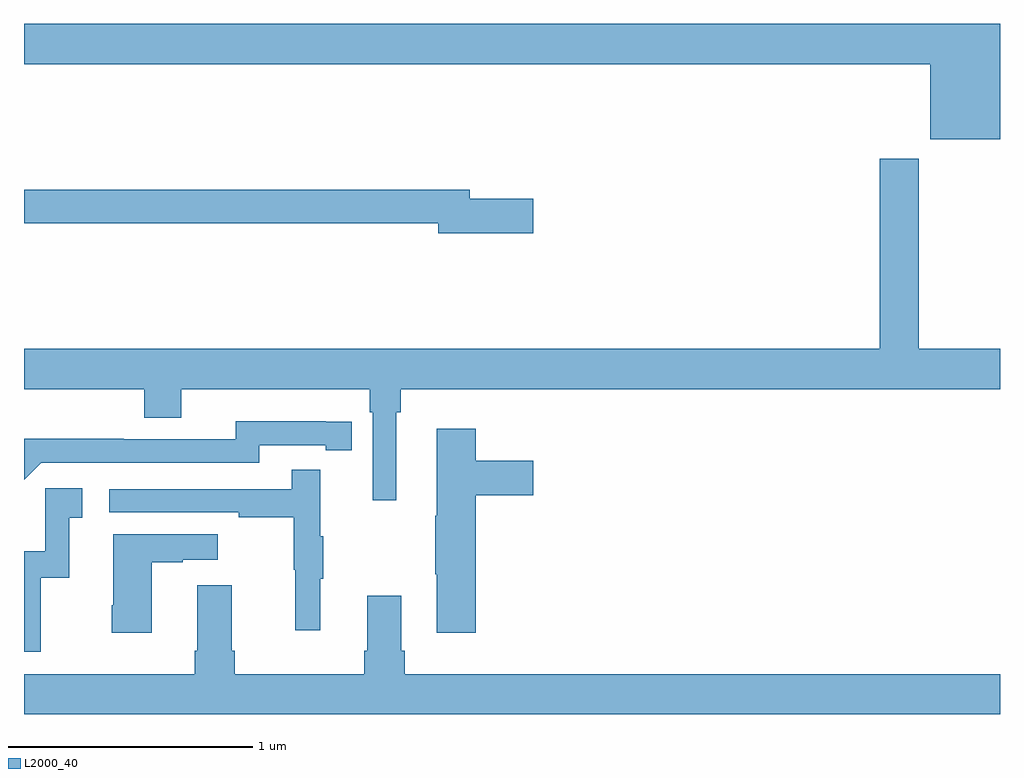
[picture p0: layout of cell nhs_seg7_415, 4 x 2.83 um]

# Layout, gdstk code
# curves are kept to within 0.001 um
import gdstk
lib = gdstk.Library(unit=1e-6, precision=1e-09)
def P(c, l, *ps):  # polygons
    for p in ps: c.add(gdstk.Polygon(p, *l))
L2000_40 = (2000, 40)

nhs_seg7_415 = lib.new_cell('nhs_seg7_415')
P(nhs_seg7_415, L2000_40, [(147,1011.436),(143,1011.436),(143,1011.272),(146.714,1011.272),(146.714,1010.963),(147,1010.963)],
  [(144.526,1009.844),(144.545,1009.844),(144.545,1009.94),(147,1009.94),(147,1010.104),(146.667,1010.104),(146.667,1010.884),(146.507,1010.884),(146.507,1010.104),(143,1010.104),(143,1009.94),(143.492,1009.94),(143.492,1009.823),(143.644,1009.823),(143.644,1009.94),(144.416,1009.94),(144.416,1009.844),(144.429,1009.844),(144.429,1009.485),(144.526,1009.485)],
  [(145.087,1010.72),(144.826,1010.72),(144.826,1010.756),(143,1010.756),(143,1010.62),(144.698,1010.62),(144.698,1010.578),(145.087,1010.578)],
  [(143.07,1009.638),(143.964,1009.638),(143.964,1009.71),(144.236,1009.71),(144.236,1009.69),(144.344,1009.69),(144.344,1009.806),(143.868,1009.807),(143.868,1009.734),(143.408,1009.734),(143.408,1009.736),(143,1009.736),(143,1009.568)],
  [(144.851,1009.505),(145.087,1009.505),(145.087,1009.647),(144.851,1009.647),(144.851,1009.777),(144.692,1009.777),(144.692,1009.421),(144.685,1009.421),(144.685,1009.18),(144.692,1009.18),(144.692,1008.942),(144.851,1008.942)],
  [(144.215,1009.163),(144.226,1009.163),(144.226,1009.337),(144.215,1009.337),(144.215,1009.609),(144.097,1009.609),(144.097,1009.53),(143.349,1009.53),(143.349,1009.434),(143.881,1009.434),(143.881,1009.414),(144.105,1009.414),(144.105,1009.2),(144.112,1009.2),(144.112,1008.951),(144.215,1008.951)],
  [(143.068,1009.167),(143.186,1009.167),(143.186,1009.413),(143.239,1009.413),(143.239,1009.534),(143.088,1009.534),(143.088,1009.275),(143,1009.275),(143,1008.864),(143.068,1008.864)],
  [(143.524,1009.231),(143.651,1009.231),(143.651,1009.241),(143.794,1009.241),(143.794,1009.345),(143.366,1009.345),(143.366,1009.054),(143.359,1009.054),(143.359,1008.942),(143.524,1008.942)],
  [(147,1008.772),(144.56,1008.772),(144.56,1008.868),(144.547,1008.868),(144.547,1009.093),(144.407,1009.093),(144.407,1008.868),(144.395,1008.868),(144.395,1008.772),(143.864,1008.772),(143.864,1008.868),(143.851,1008.868),(143.851,1009.135),(143.711,1009.135),(143.711,1008.868),(143.699,1008.868),(143.699,1008.772),(143,1008.772),(143,1008.608),(147,1008.608)])

lib.write_gds('nhs_seg7_415.gds')
